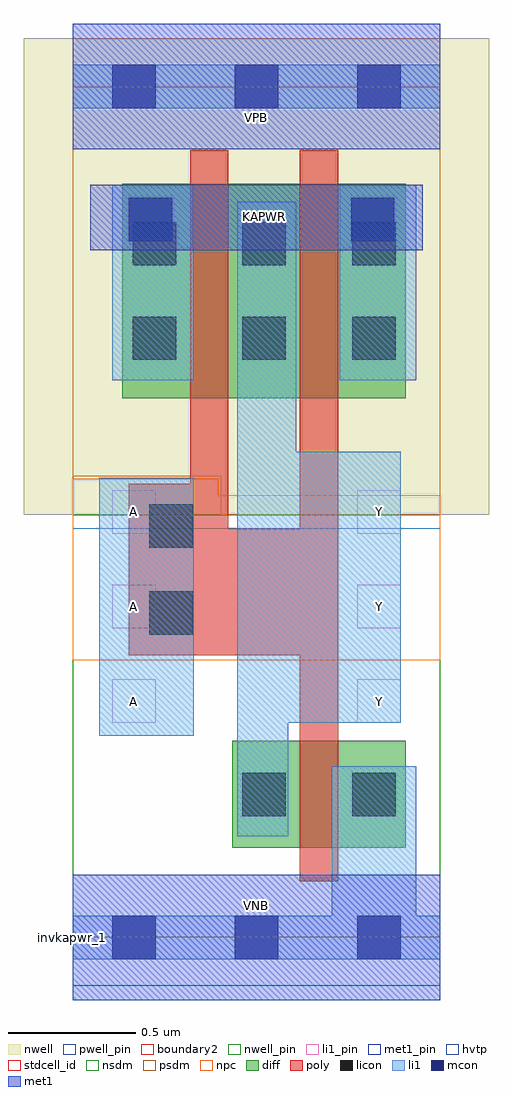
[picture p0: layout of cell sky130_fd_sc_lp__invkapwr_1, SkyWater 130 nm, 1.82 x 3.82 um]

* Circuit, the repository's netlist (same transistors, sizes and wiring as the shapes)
* Copyright 2020 The SkyWater PDK Authors
*
* Licensed under the Apache License, Version 2.0 (the "License");
* you may not use this file except in compliance with the License.
* You may obtain a copy of the License at
*
*     https://www.apache.org/licenses/LICENSE-2.0
*
* Unless required by applicable law or agreed to in writing, software
* distributed under the License is distributed on an "AS IS" BASIS,
* WITHOUT WARRANTIES OR CONDITIONS OF ANY KIND, either express or implied.
* See the License for the specific language governing permissions and
* limitations under the License.
*
* SPDX-License-Identifier: Apache-2.0

.SUBCKT sky130_fd_sc_lp__invkapwr_1 A KAPWR VGND VNB VPB VPWR Y
*.PININFO A:I KAPWR:I VGND:I VNB:I VPB:I VPWR:I Y:O
MMIP0 Y A KAPWR VPB sky130_fd_pr__pfet_01v8_hvt m=2 w=0.84U l=0.15U mult=1 sa=0.265
+ sb=0.265 sd=0.28 area=0.063 perim=1.14
MMIN0 Y A VGND VNB sky130_fd_pr__nfet_01v8 m=1 w=0.42U l=0.15U mult=1 sa=0.265
+ sb=0.265 sd=0.28 area=0.063 perim=1.14
.ENDS sky130_fd_sc_lp__invkapwr_1

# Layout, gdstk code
import gdstk
lib = gdstk.Library(unit=1e-6, precision=1e-09)
def R(c, l, rs):  # rectangles x0, y0, x1, y1
    for r in rs: c.add(gdstk.rectangle(r[:2], r[2:], *l))
def A(c, l, x, y, w, h, nx, ny, dx, dy):  # array of equal rectangles
    R(c, l, [(x+i*dx, y+j*dy, x+i*dx+w, y+j*dy+h) for i in range(nx) for j in range(ny)])
def P(c, l, *ps):  # polygons
    for p in ps: c.add(gdstk.Polygon(p, *l))
nwell_pin = (64, 16)
nwell = (64, 20)
diff = (65, 20)
poly = (66, 20)
licon = (66, 44)
li1_pin = (67, 16)
li1 = (67, 20)
mcon = (67, 44)
met1_pin = (68, 16)
met1 = (68, 20)
hvtp = (78, 44)
stdcell_id = (81, 4)
nsdm = (93, 44)
psdm = (94, 20)
npc = (95, 20)
pwell_pin = (122, 16)
boundary2 = (236, 0)

sky130_fd_sc_lp__invkapw = lib.new_cell('sky130_fd_sc_lp__invkapwr_1')
R(sky130_fd_sc_lp__invkapw, nwell_pin, [(0,3.085,1.44,3.33)])
R(sky130_fd_sc_lp__invkapw, nwell, [(-0.19,1.655,1.63,3.52)])
R(sky130_fd_sc_lp__invkapw, diff, [(0.625,0.35,1.305,0.77), (0.195,2.11,1.305,2.95)])
P(sky130_fd_sc_lp__invkapw, poly, [(1.04,3.08),(0.89,3.08),(0.89,1.6),(0.61,1.6),(0.61,3.08),(0.46,3.08),(0.46,1.775),(0.22,1.775),(0.22,1.105),(0.89,1.105),(0.89,0.22),(1.04,0.22)])
A(sky130_fd_sc_lp__invkapw, licon, 0.235, 2.26, 0.17, 0.17, 3, 2, 0.43, 0.37)
R(sky130_fd_sc_lp__invkapw, licon, [(0.665,0.475,0.835,0.645), (1.095,0.475,1.265,0.645), (0.3,1.185,0.47,1.355), (0.3,1.525,0.47,1.695)])
A(sky130_fd_sc_lp__invkapw, li1_pin, 0.155, 0.84, 0.17, 0.17, 1, 3, 0, 0.37)
A(sky130_fd_sc_lp__invkapw, li1_pin, 1.115, 0.84, 0.17, 0.17, 1, 3, 0, 0.37)
R(sky130_fd_sc_lp__invkapw, li1, [(0.105,0.79,0.475,1.8), (0.155,2.18,0.475,2.945), (1.045,2.18,1.345,2.945), (0,3.245,1.44,3.415)])
P(sky130_fd_sc_lp__invkapw, li1, [(1.285,1.9),(0.875,1.9),(0.875,2.88),(0.645,2.88),(0.645,0.395),(0.845,0.395),(0.845,0.84),(1.285,0.84)],
  [(1.44,0.085),(1.345,0.085),(1.345,0.67),(1.015,0.67),(1.015,0.085),(0,0.085),(0,-0.085),(1.44,-0.085)])
A(sky130_fd_sc_lp__invkapw, mcon, 0.155, -0.085, 0.17, 0.17, 3, 2, 0.48, 3.33)
R(sky130_fd_sc_lp__invkapw, mcon, [(0.22,2.725,0.39,2.895), (1.09,2.725,1.26,2.895)])
R(sky130_fd_sc_lp__invkapw, met1_pin, [(0,0,1.44,0.245), (0.07,2.69,1.37,2.945), (0,3.085,1.44,3.33)])
R(sky130_fd_sc_lp__invkapw, met1, [(0,-0.245,1.44,0.245), (0.07,2.69,1.37,2.945), (0,3.085,1.44,3.575)])
R(sky130_fd_sc_lp__invkapw, hvtp, [(0,1.6,1.44,3.33)])
R(sky130_fd_sc_lp__invkapw, stdcell_id, [(0,0,1.44,3.33)])
R(sky130_fd_sc_lp__invkapw, nsdm, [(0,-0.19,1.44,1.655)])
P(sky130_fd_sc_lp__invkapw, psdm, [(1.44,3.52),(0,3.52),(0,1.805),(0.58,1.805),(0.58,1.655),(1.44,1.655)])
P(sky130_fd_sc_lp__invkapw, npc, [(1.44,1.73),(0.57,1.73),(0.57,1.795),(0,1.795),(0,1.085),(1.44,1.085)])
R(sky130_fd_sc_lp__invkapw, pwell_pin, [(0,0,1.44,0.245)])
R(sky130_fd_sc_lp__invkapw, boundary2, [(0,0,1.44,3.33)])
sky130_fd_sc_lp__invkapw.add(gdstk.Label('VNB', (0.72,0.123), layer=64, texttype=59))
sky130_fd_sc_lp__invkapw.add(gdstk.Label('VPB', (0.72,3.208), layer=64, texttype=5))
sky130_fd_sc_lp__invkapw.add(gdstk.Label('invkapwr_1', (0,0), layer=83, texttype=44))
sky130_fd_sc_lp__invkapw.add(gdstk.Label('VPWR', (0.72,3.208), layer=68, texttype=5))
sky130_fd_sc_lp__invkapw.add(gdstk.Label('VGND', (0.72,0.123), layer=68, texttype=5))
sky130_fd_sc_lp__invkapw.add(gdstk.Label('KAPWR', (0.75,2.82), layer=68, texttype=5))
sky130_fd_sc_lp__invkapw.add(gdstk.Label('A', (0.24,0.925), layer=67, texttype=5))
sky130_fd_sc_lp__invkapw.add(gdstk.Label('A', (0.24,1.295), layer=67, texttype=5))
sky130_fd_sc_lp__invkapw.add(gdstk.Label('A', (0.24,1.665), layer=67, texttype=5))
sky130_fd_sc_lp__invkapw.add(gdstk.Label('Y', (1.2,0.925), layer=67, texttype=5))
sky130_fd_sc_lp__invkapw.add(gdstk.Label('Y', (1.2,1.295), layer=67, texttype=5))
sky130_fd_sc_lp__invkapw.add(gdstk.Label('Y', (1.2,1.665), layer=67, texttype=5))

lib.write_gds('sky130_fd_sc_lp__invkapwr_1.gds')
